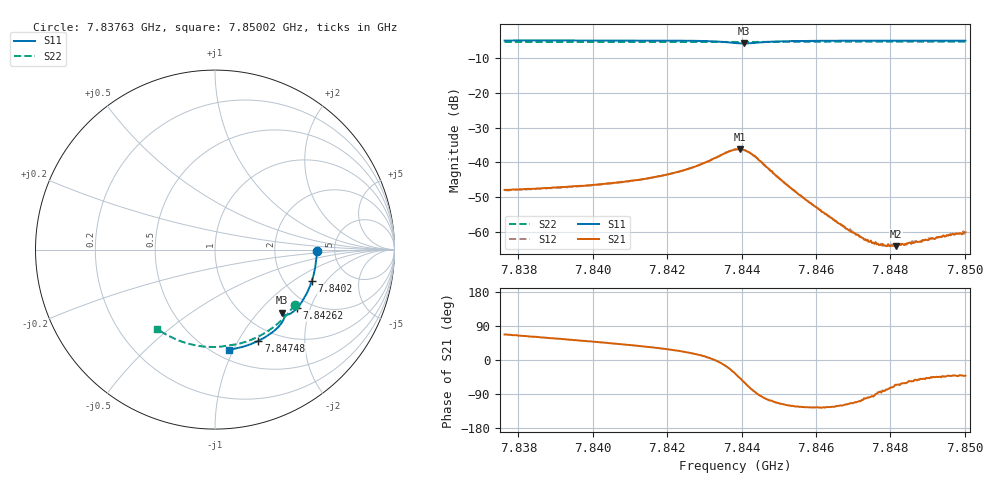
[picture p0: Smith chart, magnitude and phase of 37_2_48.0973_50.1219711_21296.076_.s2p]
#  HZ  S  RI  R  50.00
! Rohde & Schwarz Vector Network Analyzer
! Rohde-Schwarz,ZNB20-2Port,1311601062101988,3.16
! Created: UTC 12/23/2023, 3:38:21 AM
! freq[Hz]  re:S11  im:S11  re:S21  im:S21  re:S12  im:S12  re:S22  im:S22
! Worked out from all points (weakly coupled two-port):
!   401 points, 7.83763 GHz to 7.85002 GHz, reference 50 ohm
!   highest |S21| = -36.11 dB at 7.84395 GHz (marker M1); lowest = -64.1 dB at 7.84816 GHz (marker M2)
!   lowest |S11| = -5.8 dB at 7.84407 GHz (marker M3), VSWR 3.11, Z = 71.7 - j68.2 ohm
!   |S11| at or under -10 dB: nowhere
!   |S22| runs from -5.4 to -5.3 dB; largest |S21 - S12| = 0.00026
!   S11 on the Smith chart (normalised r, x): 7.83763 GHz: 3.61, -0.07; 7.8402 GHz: 2.79, -1.45; 7.84262 GHz: 1.72, -1.63; 7.84748 GHz: 0.82, -1.22; 7.85002 GHz: 0.59, -0.96
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7.837627e9  0.5667 -0.00697  0.00155 0.00372  0.00155 0.00362  0.4437 -0.3076
7.839703e9  0.5485 -0.144  0.00291 0.00356  0.00286 0.00357  0.3463 -0.4153
7.840199e9  0.539 -0.176  0.00331 0.00354  0.00331 0.0035  0.319 -0.4368
7.840911e9  0.5217 -0.2213  0.00407 0.00349  0.00401 0.00345  0.2773 -0.4646
7.841779e9  0.4943 -0.275  0.00544 0.00328  0.00539 0.0033  0.2235 -0.493
7.842616e9  0.4583 -0.3247  0.00783 0.00262  0.0078 0.00266  0.1687 -0.5146
7.84336e9  0.4113 -0.3606  0.0121 -0.000804  0.012 -0.000867  0.118 -0.5277
7.843824e9  0.3772 -0.3591  0.0126 -0.00892  0.0125 -0.0088  0.0868 -0.532
7.843948e9  0.3738 -0.3544  0.0107 -0.0114  0.0106 -0.0114  0.079 -0.5329
7.844072e9  0.3747 -0.3506  0.00786 -0.0129  0.00775 -0.0128  0.0713 -0.5344
7.844351e9  0.384 -0.3556  0.00145 -0.0124  0.00133 -0.0122  0.0535 -0.5376
7.845188e9  0.3689 -0.4121  -0.00236 -0.00432  -0.00233 -0.00435  -0.00497 -0.5428
7.8459e9  0.3331 -0.4498  -0.00144 -0.00202  -0.00144 -0.00206  -0.0554 -0.5408
7.846582e9  0.2949 -0.4781  -0.000716 -0.00116  -0.000702 -0.00117  -0.1028 -0.5344
7.846861e9  0.2785 -0.4883  -0.000482 -0.000974  -0.000507 -0.00101  -0.1222 -0.5306
7.847078e9  0.2657 -0.4959  -0.000346 -0.000861  -0.000352 -0.000837  -0.137 -0.5271
7.847481e9  0.2414 -0.5085  -9.02e-05 -0.000747  -0.000107 -0.000716  -0.1643 -0.5194
7.847822e9  0.2205 -0.5179  8.95e-05 -0.000636  9.22e-05 -0.000634  -0.187 -0.5119
7.847977e9  0.211 -0.522  0.000167 -0.000605  0.000171 -0.000614  -0.1973 -0.508
7.848163e9  0.1992 -0.5267  0.000261 -0.000569  0.000239 -0.000598  -0.2094 -0.5034
7.849681e9  0.1016 -0.5535  0.000712 -0.00062  0.000693 -0.000623  -0.3035 -0.4539
7.850022e9  0.0792 -0.5572  0.000748 -0.000654  0.000704 -0.000649  -0.3231 -0.4403
